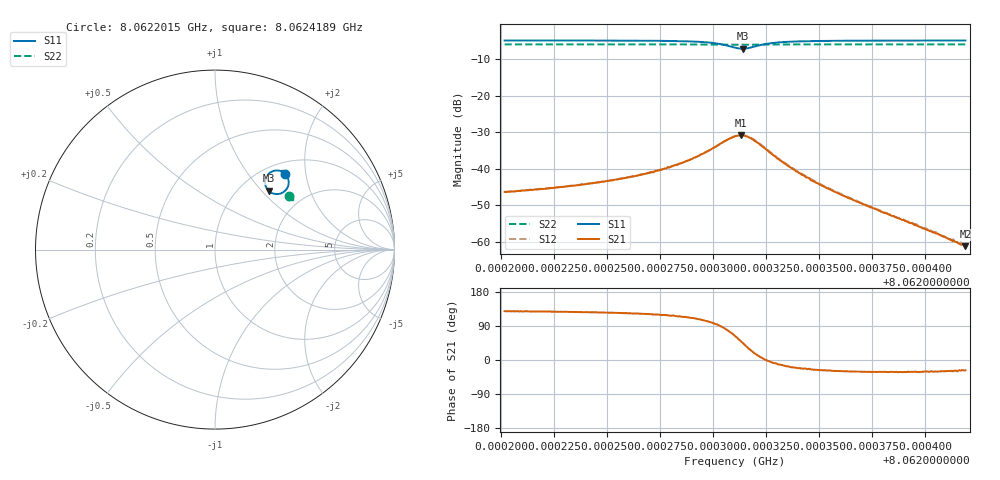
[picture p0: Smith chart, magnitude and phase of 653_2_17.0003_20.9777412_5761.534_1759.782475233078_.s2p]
#  HZ  S  RI  R  50.00
! Rohde & Schwarz Vector Network Analyzer
! Rohde-Schwarz,ZNB20-2Port,1311601062101988,3.16
! Created: UTC 3/20/2024, 11:21:20 PM
! freq[Hz]  re:S11  im:S11  re:S21  im:S21  re:S12  im:S12  re:S22  im:S22
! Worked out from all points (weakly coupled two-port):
!   401 points, 8.0622015 GHz to 8.0624189 GHz, reference 50 ohm
!   highest |S21| = -30.81 dB at 8.0623129 GHz (marker M1); lowest = -61.2 dB at 8.0624189 GHz (marker M2)
!   lowest |S11| = -7.1 dB at 8.062314 GHz (marker M3), VSWR 2.59, Z = 66.9 + j54.7 ohm
!   |S11| at or under -10 dB: nowhere
!   |S22| runs from -6.0 to -5.9 dB; largest |S21 - S12| = 0.0013
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8.06220153e9  0.3919 0.4217  -0.00302 0.00375  -0.00279 0.00396  0.4103 0.3004
8.06222218e9  0.395 0.4185  -0.0033 0.00426  -0.00305 0.00449  0.4111 0.2993
8.06223794e9  0.3976 0.4149  -0.00361 0.00488  -0.00331 0.00515  0.4116 0.2984
8.0622586e9  0.4022 0.408  -0.00416 0.00625  -0.00381 0.00652  0.4125 0.2971
8.06227436e9  0.4066 0.3981  -0.0047 0.0082  -0.00426 0.0086  0.413 0.2957
8.06228414e9  0.4096 0.3871  -0.00505 0.0106  -0.0044 0.0109  0.4134 0.2949
8.06229066e9  0.4107 0.3753  -0.00493 0.0132  -0.00409 0.0134  0.4134 0.2941
8.06229718e9  0.4081 0.3565  -0.00371 0.017  -0.00276 0.0171  0.4132 0.293
8.06230262e9  0.3962 0.3338  -0.000649 0.0214  0.000581 0.0214  0.4128 0.292
8.06230697e9  0.3709 0.3146  0.00547 0.0248  0.00648 0.0245  0.4118 0.2912
8.06231023e9  0.3391 0.3093  0.0124 0.025  0.0133 0.0245  0.4102 0.2913
8.06231294e9  0.3088 0.3198  0.0186 0.022  0.0194 0.0215  0.4092 0.2918
8.06231403e9  0.2984 0.3282  0.0204 0.02  0.0215 0.0193  0.409 0.2922
8.0623162e9  0.2839 0.3499  0.0231 0.0149  0.024 0.0142  0.4086 0.2933
8.06231892e9  0.2791 0.379  0.0234 0.00848  0.0243 0.00779  0.4089 0.2945
8.06232599e9  0.3024 0.4254  0.0174 -0.000774  0.0178 -0.00167  0.4108 0.2958
8.06233142e9  0.3225 0.437  0.0127 -0.00277  0.0129 -0.00361  0.4119 0.2958
8.06233686e9  0.3369 0.4405  0.00969 -0.00341  0.00966 -0.00391  0.4127 0.2955
8.06234664e9  0.3534 0.4404  0.00625 -0.00293  0.00623 -0.00335  0.4138 0.2948
8.06236403e9  0.3679 0.4368  0.00341 -0.00197  0.00337 -0.00222  0.4147 0.2936
8.06238305e9  0.376 0.4333  0.00199 -0.00122  0.00196 -0.00139  0.4158 0.2925
8.06241892e9  0.3841 0.4285  0.000774 -0.000394  0.000774 -0.000455  0.4173 0.2905
